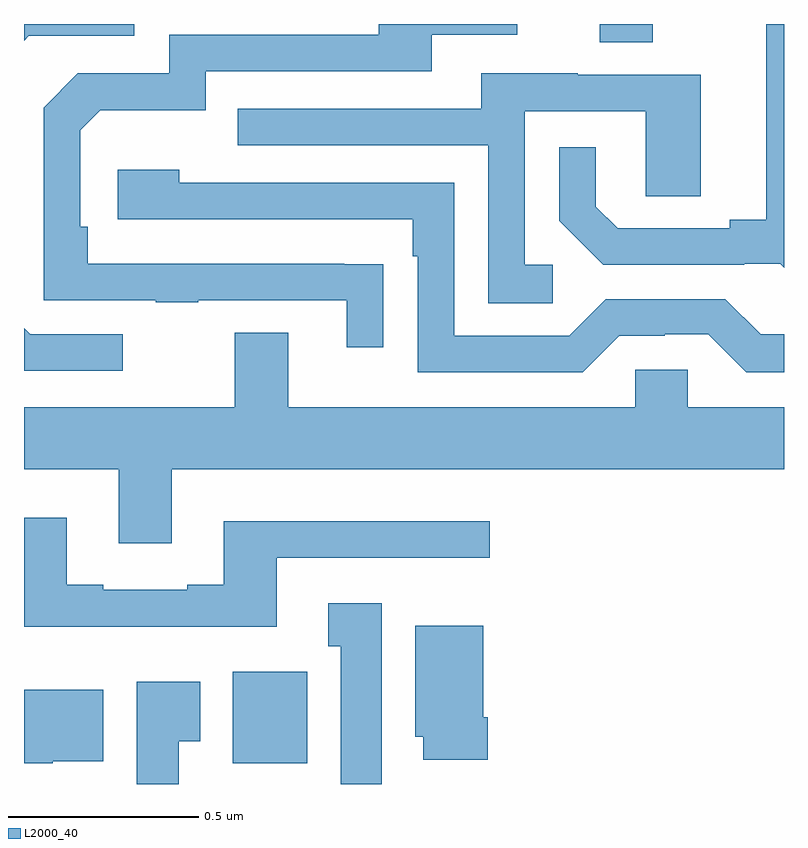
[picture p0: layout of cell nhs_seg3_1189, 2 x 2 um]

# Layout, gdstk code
import gdstk
lib = gdstk.Library(unit=1e-6, precision=1e-09)
def R(c, l, rs):  # rectangles x0, y0, x1, y1
    for r in rs: c.add(gdstk.rectangle(r[:2], r[2:], *l))
def P(c, l, *ps):  # polygons
    for p in ps: c.add(gdstk.Polygon(p, *l))
L2000_40 = (2000, 40)

nhs_seg3_1189 = lib.new_cell('nhs_seg3_1189')
R(nhs_seg3_1189, L2000_40, [(125.549,721.454,125.746,721.696), (126.515,723.352,126.655,723.4)])
P(nhs_seg3_1189, L2000_40, [(125.013,723.369),(125.29,723.369),(125.29,723.4),(125,723.4),(125,723.356)],
  [(125.945,722.768),(125.843,722.768),(125.843,722.769),(125.168,722.769),(125.168,722.866),(125.148,722.866),(125.148,723.12),(125.201,723.173),(125.478,723.173),(125.478,723.276),(126.073,723.276),(126.073,723.372),(126.298,723.372),(126.298,723.4),(125.933,723.4),(125.933,723.372),(125.382,723.372),(125.382,723.27),(125.142,723.27),(125.052,723.18),(125.052,722.673),(125.347,722.673),(125.347,722.668),(125.459,722.668),(125.459,722.673),(125.849,722.673),(125.849,722.55),(125.945,722.55)],
  [(127,723.4),(126.953,723.4),(126.953,722.885),(126.857,722.885),(126.857,722.862),(126.562,722.862),(126.505,722.919),(126.505,723.076),(126.408,723.076),(126.408,722.882),(126.524,722.766),(126.896,722.766),(126.896,722.769),(126.99,722.769),(127,722.759)],
  [(126.391,722.766),(126.318,722.766),(126.318,723.171),(126.636,723.171),(126.636,722.947),(126.781,722.947),(126.781,723.267),(126.457,723.267),(126.457,723.271),(126.203,723.271),(126.203,723.177),(125.563,723.177),(125.563,723.081),(126.222,723.081),(126.222,722.665),(126.391,722.665)],
  [(127,722.583),(126.939,722.583),(126.846,722.676),(126.531,722.676),(126.435,722.58),(126.132,722.58),(126.132,722.982),(125.408,722.982),(125.408,723.016),(125.247,723.016),(125.247,722.886),(126.023,722.886),(126.023,722.789),(126.036,722.789),(126.036,722.484),(126.471,722.484),(126.567,722.58),(126.686,722.58),(126.686,722.583),(126.801,722.583),(126.901,722.483),(127,722.483)],
  [(125.26,722.583),(125.016,722.583),(125,722.599),(125,722.487),(125.26,722.487)],
  [(125.389,722.228),(127,722.228),(127,722.392),(126.747,722.392),(126.747,722.49),(126.609,722.49),(126.609,722.392),(125.695,722.392),(125.695,722.587),(125.555,722.587),(125.555,722.392),(125,722.392),(125,722.228),(125.249,722.228),(125.249,722.034),(125.389,722.034)],
  [(125.665,721.995),(126.226,721.995),(126.226,722.092),(125.525,722.092),(125.525,721.924),(125.429,721.924),(125.429,721.911),(125.209,721.911),(125.209,721.924),(125.113,721.924),(125.113,722.101),(125,722.101),(125,721.814),(125.665,721.814)],
  [(125.941,721.876),(125.801,721.876),(125.801,721.763),(125.834,721.763),(125.834,721.4),(125.941,721.4)],
  [(126.221,721.576),(126.208,721.576),(126.208,721.816),(126.029,721.816),(126.029,721.524),(126.05,721.524),(126.05,721.464),(126.221,721.464)],
  [(125.407,721.513),(125.464,721.513),(125.464,721.669),(125.297,721.669),(125.297,721.4),(125.407,721.4)],
  [(125.076,721.46),(125.209,721.46),(125.209,721.648),(125,721.648),(125,721.454),(125.076,721.454)])

lib.write_gds('nhs_seg3_1189.gds')
